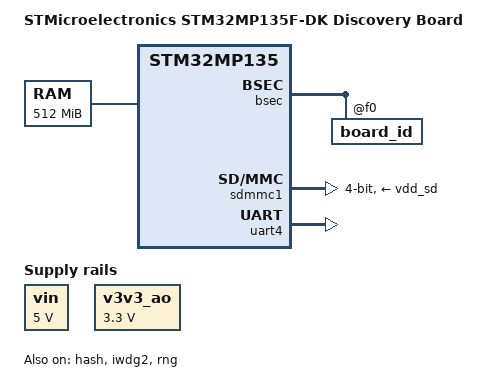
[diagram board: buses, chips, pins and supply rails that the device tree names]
// SPDX-License-Identifier: (GPL-2.0+ OR BSD-3-Clause)
/*
 * Copyright (C) STMicroelectronics 2022 - All Rights Reserved
 * Author: Alexandre Torgue <alexandre.torgue@foss.st.com> for STMicroelectronics.
 */

/dts-v1/;

#include <dt-bindings/clock/stm32mp13-clksrc.h>
#include "stm32mp135.dtsi"
#include "stm32mp13xf.dtsi"
#include "stm32mp13-ddr3-1x4Gb-1066-binF.dtsi"
#include "stm32mp13-pinctrl.dtsi"

/ {
	model = "STMicroelectronics STM32MP135F-DK Discovery Board";
	compatible = "st,stm32mp135f-dk", "st,stm32mp135";

	aliases {
		serial0 = &uart4;
		serial1 = &usart1;
		serial2 = &uart8;
		serial3 = &usart2;
	};

	chosen {
		stdout-path = "serial0:115200n8";
	};

	memory@c0000000 {
		device_type = "memory";
		reg = <0xc0000000 0x20000000>;
	};

	vin: vin {
		compatible = "regulator-fixed";
		regulator-name = "vin";
		regulator-min-microvolt = <5000000>;
		regulator-max-microvolt = <5000000>;
		regulator-always-on;
	};

	v3v3_ao: v3v3_ao {
		compatible = "regulator-fixed";
		regulator-name = "v3v3_ao";
		regulator-min-microvolt = <3300000>;
		regulator-max-microvolt = <3300000>;
		regulator-always-on;
	};
};

&bsec {
	board_id: board_id@f0 {
		reg = <0xf0 0x4>;
		st,non-secure-otp;
	};
};

&cpu0 {
	cpu-supply = <&vddcpu>;
};

&hash {
	status = "okay";
};

&i2c4 {
	pinctrl-names = "default";
	pinctrl-0 = <&i2c4_pins_a>;
	i2c-scl-rising-time-ns = <185>;
	i2c-scl-falling-time-ns = <20>;
	clock-frequency = <400000>;
	status = "disabled";
	secure-status = "okay";

	pmic: stpmic@33 {
		compatible = "st,stpmic1";
		reg = <0x33>;

		status = "disabled";
		secure-status = "okay";

		regulators {
			compatible = "st,stpmic1-regulators";
			buck1-supply = <&vin>;
			buck2-supply = <&vin>;
			buck3-supply = <&vin>;
			buck4-supply = <&vin>;
			ldo1-supply = <&vin>;
			ldo4-supply = <&vin>;
			ldo5-supply = <&vin>;
			ldo6-supply = <&vin>;
			vref_ddr-supply = <&vin>;
			pwr_sw1-supply = <&bst_out>;
			pwr_sw2-supply = <&v3v3_ao>;

			vddcpu: buck1 {
				regulator-name = "vddcpu";
				regulator-min-microvolt = <1250000>;
				regulator-max-microvolt = <1250000>;
				regulator-always-on;
				regulator-over-current-protection;
			};

			vdd_ddr: buck2 {
				regulator-name = "vdd_ddr";
				regulator-min-microvolt = <1350000>;
				regulator-max-microvolt = <1350000>;
				regulator-always-on;
				regulator-over-current-protection;
			};

			vdd: buck3 {
				regulator-name = "vdd";
				regulator-min-microvolt = <3300000>;
				regulator-max-microvolt = <3300000>;
				regulator-always-on;
				st,mask-reset;
				regulator-over-current-protection;
			};

			vddcore: buck4 {
				regulator-name = "vddcore";
				regulator-min-microvolt = <1250000>;
				regulator-max-microvolt = <1250000>;
				regulator-always-on;
				regulator-over-current-protection;
			};

			vdd_adc: ldo1 {
				regulator-name = "vdd_adc";
				regulator-min-microvolt = <3300000>;
				regulator-max-microvolt = <3300000>;
			};

			vdd_usb: ldo4 {
				regulator-name = "vdd_usb";
				regulator-min-microvolt = <3300000>;
				regulator-max-microvolt = <3300000>;
			};

			vdd_sd: ldo5 {
				regulator-name = "vdd_sd";
				regulator-min-microvolt = <3300000>;
				regulator-max-microvolt = <3300000>;
				regulator-boot-on;
			};

			v1v8_periph: ldo6 {
				regulator-name = "v1v8_periph";
				regulator-min-microvolt = <1800000>;
				regulator-max-microvolt = <1800000>;
			};

			vref_ddr: vref_ddr {
				regulator-name = "vref_ddr";
				regulator-always-on;
			};

			bst_out: boost {
				regulator-name = "bst_out";
			};

			v3v3_sw: pwr_sw2 {
				regulator-name = "v3v3_sw";
				regulator-active-discharge = <1>;
				regulator-always-on;
			};
		};
	};
};

&iwdg2 {
	timeout-sec = <32>;
	status = "okay";
};

&pka {
	secure-status = "okay";
};

&pwr_regulators {
	vdd-supply = <&vdd>;
	vdd_3v3_usbfs-supply = <&vdd_usb>;
};

&rcc {
	st,clksrc = <
		CLK_MPU_PLL1P
		CLK_AXI_PLL2P
		CLK_MLAHBS_PLL3
		CLK_CKPER_HSE
		CLK_RTC_LSE
		CLK_SDMMC1_PLL4P
		CLK_SDMMC2_PLL4P
		CLK_STGEN_HSE
		CLK_USBPHY_HSE
		CLK_I2C4_HSI
		CLK_USBO_USBPHY
		CLK_I2C12_HSI
		CLK_UART2_HSI
		CLK_UART4_HSI
		CLK_SAES_AXI
	>;

	st,clkdiv = <
		DIV(DIV_AXI, 0)
		DIV(DIV_MLAHB, 0)
		DIV(DIV_APB1, 1)
		DIV(DIV_APB2, 1)
		DIV(DIV_APB3, 1)
		DIV(DIV_APB4, 1)
		DIV(DIV_APB5, 2)
		DIV(DIV_APB6, 1)
		DIV(DIV_RTC, 0)
	>;

	st,pll_vco {
		pll1_vco_1300Mhz: pll1-vco-1300Mhz {
			src = < CLK_PLL12_HSE >;
			divmn = < 2 80 >;
			frac = < 0x800 >;
		};

		pll2_vco_1066Mhz: pll2-vco-1066Mhz {
			src = < CLK_PLL12_HSE >;
			divmn = < 2 65 >;
			frac = < 0x1400 >;
		};

		pll3_vco_417_8Mhz: pll2-vco-417_8Mhz {
			src = < CLK_PLL3_HSE >;
			divmn = < 1 33 >;
			frac = < 0x1a04 >;
		};

		pll4_vco_600Mhz: pll2-vco-600Mhz {
			src = < CLK_PLL4_HSE >;
			divmn = < 1 49 >;
		};
	};

	/* VCO = 1300.0 MHz => P = 650 (CPU) */
	pll1:st,pll@0 {
		compatible = "st,stm32mp1-pll";
		reg = <0>;

		st,pll = < &pll1_cfg1 >;

		pll1_cfg1: pll1_cfg1 {
			st,pll_vco = < &pll1_vco_1300Mhz >;
			st,pll_div_pqr = < 0 1 1 >;
		};
	};

	/* VCO = 1066.0 MHz => P = 266 (AXI), Q = 266, R = 533 (DDR) */
	pll2:st,pll@1 {
		compatible = "st,stm32mp1-pll";
		reg = <1>;

		st,pll = < &pll2_cfg1 >;

		pll2_cfg1: pll2_cfg1 {
			st,pll_vco = < &pll2_vco_1066Mhz >;
			st,pll_div_pqr = < 1 1 0 >;
		};
	};

	/* VCO = 417.8 MHz => P = 209, Q = 24, R = 209 */
	pll3:st,pll@2 {
		compatible = "st,stm32mp1-pll";
		reg = <2>;

		st,pll = < &pll3_cfg1 >;

		pll3_cfg1: pll3_cfg1 {
			st,pll_vco = < &pll3_vco_417_8Mhz >;
			st,pll_div_pqr = < 1 16 1 >;
		};
	};

	/* VCO = 600.0 MHz => P = 50, Q = 10, R = 100 */
	pll4:st,pll@3 {
		compatible = "st,stm32mp1-pll";
		reg = <3>;

		st,pll = < &pll4_cfg1 >;

		pll4_cfg1: pll4_cfg1 {
			st,pll_vco = < &pll4_vco_600Mhz >;
			st,pll_div_pqr = < 11 59 5 >;
		};
	};
};

&rng {
	status = "okay";
};

&saes {
	secure-status = "okay";
};

&sdmmc1 {
	pinctrl-names = "default";
	pinctrl-0 = <&sdmmc1_b4_pins_a>;
	disable-wp;
	st,neg-edge;
	bus-width = <4>;
	vmmc-supply = <&vdd_sd>;
	status = "okay";
};

&uart4 {
	pinctrl-names = "default";
	pinctrl-0 = <&uart4_pins_a>;
	status = "okay";
};

&uart8 {
	pinctrl-names = "default";
	pinctrl-0 = <&uart8_pins_a>;
	status = "disabled";
};

&usart1 {
	pinctrl-names = "default";
	pinctrl-0 = <&usart1_pins_a>;
	uart-has-rtscts;
	status = "disabled";
};
